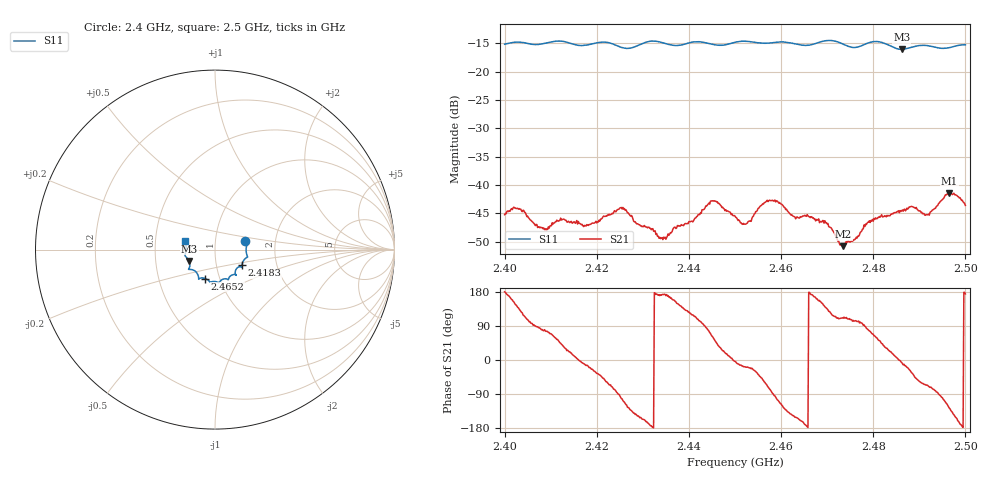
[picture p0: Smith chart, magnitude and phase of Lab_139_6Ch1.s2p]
# Hz S RI R 50
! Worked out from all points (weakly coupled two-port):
!   601 points, 2.4 GHz to 2.5 GHz, reference 50 ohm
!   highest |S21| = -41.43 dB at 2.4965 GHz (marker M1); lowest = -50.8 dB at 2.4735 GHz (marker M2)
!   lowest |S11| = -16.1 dB at 2.4862 GHz (marker M3), VSWR 1.37, Z = 37.2 - j4.89 ohm
!   |S11| at or under -10 dB: start of sweep to end of sweep
!   S12 and S22 are empty: the file has one direction only
!   S11 on the Smith chart (normalised r, x): 2.4 GHz: 1.40, +0.14; 2.4183 GHz: 1.33, -0.24; 2.4652 GHz: 0.85, -0.28; 2.5 GHz: 0.71, +0.07
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2.4e9  0.1679 0.047  -0.00548 3.85e-06  0 0  0 0
2.403e9  0.1791 0.0326  -0.00454 0.00413  0 0  0 0
2.408833e9  0.176 -0.0244  0.000942 0.00402  0 0  0 0
2.4125e9  0.1801 -0.0423  0.00382 0.00318  0 0  0 0
2.416667e9  0.1553 -0.0682  0.00445 -0.000481  0 0  0 0
2.418333e9  0.1499 -0.0866  0.00421 -0.00154  0 0  0 0
2.4255e9  0.1304 -0.0974  -0.00134 -0.00601  0 0  0 0
2.433333e9  0.1172 -0.1415  -0.0035 0.000566  0 0  0 0
2.440667e9  0.0748 -0.1656  -0.00234 0.00421  0 0  0 0
2.445167e9  0.061 -0.1624  0.00354 0.00637  0 0  0 0
2.45e9  0.0259 -0.1796  0.00533 -0.000328  0 0  0 0
2.4525e9  0.0199 -0.184  0.00433 -0.00151  0 0  0 0
2.457833e9  -0.0155 -0.1783  0.00102 -0.00723  0 0  0 0
2.465167e9  -0.0544 -0.1613  -0.00534 -0.000918  0 0  0 0
2.466667e9  -0.0708 -0.1579  -0.00521 0.000696  0 0  0 0
2.469667e9  -0.0905 -0.1636  -0.00352 0.00306  0 0  0 0
2.4735e9  -0.0929 -0.1476  -0.00101 0.00272  0 0  0 0
2.483333e9  -0.1415 -0.0967  0.00486 0.00235  0 0  0 0
2.486167e9  -0.1434 -0.0641  0.0059 -0.000661  0 0  0 0
2.491667e9  -0.1671 -0.0298  0.00224 -0.00501  0 0  0 0
2.4965e9  -0.1613 0.0208  -0.00508 -0.0068  0 0  0 0
2.5e9  -0.166 0.0472  -0.00659 0.000644  0 0  0 0
